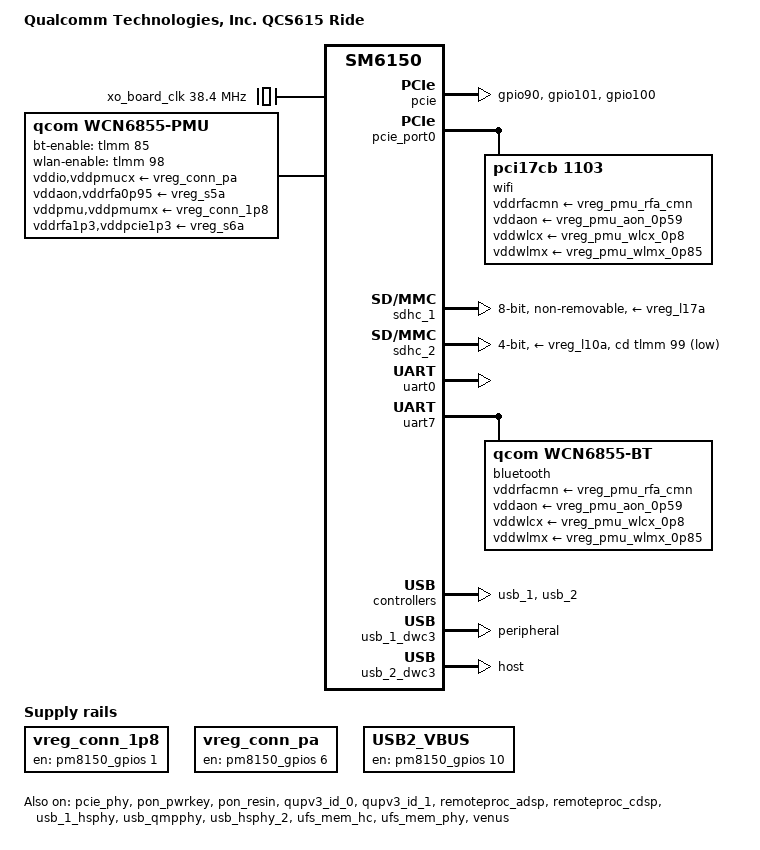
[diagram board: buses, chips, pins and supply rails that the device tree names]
// SPDX-License-Identifier: BSD-3-Clause
/*
 * Copyright (c) 2024, Qualcomm Innovation Center, Inc. All rights reserved.
 */
/dts-v1/;

#include <dt-bindings/gpio/gpio.h>
#include <dt-bindings/regulator/qcom,rpmh-regulator.h>
#include <dt-bindings/gpio/gpio.h>
#include "sm6150.dtsi"
#include "pm8150.dtsi"
/ {
	model = "Qualcomm Technologies, Inc. QCS615 Ride";
	compatible = "qcom,qcs615-ride", "qcom,qcs615", "qcom,sm6150";
	chassis-type = "embedded";

	aliases {
		mmc0 = &sdhc_1;
		mmc1 = &sdhc_2;
		serial0 = &uart0;
		serial1 = &uart7;
	};

	chosen {
		stdout-path = "serial0:115200n8";
	};

	clocks {
		sleep_clk: sleep-clk {
			compatible = "fixed-clock";
			clock-frequency = <32000>;
			#clock-cells = <0>;
		};

		xo_board_clk: xo-board-clk {
			compatible = "fixed-clock";
			clock-frequency = <38400000>;
			#clock-cells = <0>;
		};
	};

	vreg_conn_1p8: regulator-conn-1p8 {
		compatible = "regulator-fixed";
		regulator-name = "vreg_conn_1p8";
		startup-delay-us = <4000>;
		enable-active-high;
		gpio = <&pm8150_gpios 1 GPIO_ACTIVE_HIGH>;
	};

	vreg_conn_pa: regulator-conn-pa {
		compatible = "regulator-fixed";
		regulator-name = "vreg_conn_pa";
		startup-delay-us = <4000>;
		enable-active-high;
		gpio = <&pm8150_gpios 6 GPIO_ACTIVE_HIGH>;
	};

	regulator-usb2-vbus {
		compatible = "regulator-fixed";
		regulator-name = "USB2_VBUS";
		gpio = <&pm8150_gpios 10 GPIO_ACTIVE_HIGH>;
		pinctrl-0 = <&usb2_en>;
		pinctrl-names = "default";
		enable-active-high;
		regulator-always-on;
	};

	wcn6855-pmu {
		compatible = "qcom,wcn6855-pmu";

		pinctrl-0 = <&bt_en_state>, <&wlan_en_state>;
		pinctrl-names = "default";

		bt-enable-gpios = <&tlmm 85 GPIO_ACTIVE_HIGH>;
		wlan-enable-gpios = <&tlmm 98 GPIO_ACTIVE_HIGH>;

		vddio-supply = <&vreg_conn_pa>;
		vddaon-supply = <&vreg_s5a>;
		vddpmu-supply = <&vreg_conn_1p8>;
		vddpmumx-supply = <&vreg_conn_1p8>;
		vddpmucx-supply = <&vreg_conn_pa>;
		vddrfa0p95-supply = <&vreg_s5a>;
		vddrfa1p3-supply = <&vreg_s6a>;
		vddrfa1p9-supply = <&vreg_l15a>;
		vddpcie1p3-supply = <&vreg_s6a>;
		vddpcie1p9-supply = <&vreg_l15a>;

		regulators {
			vreg_pmu_rfa_cmn: ldo0 {
				regulator-name = "vreg_pmu_rfa_cmn";
			};

			vreg_pmu_aon_0p59: ldo1 {
				regulator-name = "vreg_pmu_aon_0p59";
			};

			vreg_pmu_wlcx_0p8: ldo2 {
				regulator-name = "vreg_pmu_wlcx_0p8";
			};

			vreg_pmu_wlmx_0p85: ldo3 {
				regulator-name = "vreg_pmu_wlmx_0p85";
			};

			vreg_pmu_btcmx_0p85: ldo4 {
				regulator-name = "vreg_pmu_btcmx_0p85";
			};

			vreg_pmu_rfa_0p8: ldo5 {
				regulator-name = "vreg_pmu_rfa_0p8";
			};

			vreg_pmu_rfa_1p2: ldo6 {
				regulator-name = "vreg_pmu_rfa_1p2";
			};

			vreg_pmu_rfa_1p7: ldo7 {
				regulator-name = "vreg_pmu_rfa_1p7";
			};

			vreg_pmu_pcie_0p9: ldo8 {
				regulator-name = "vreg_pmu_pcie_0p9";
			};

			vreg_pmu_pcie_1p8: ldo9 {
				regulator-name = "vreg_pmu_pcie_1p8";
			};
		};
	};
};

&apps_rsc {
	regulators-0 {
		compatible = "qcom,pm8150-rpmh-regulators";
		qcom,pmic-id = "a";

		vreg_s3a: smps3 {
			regulator-name = "vreg_s3a";
			regulator-min-microvolt = <600000>;
			regulator-max-microvolt = <650000>;
			regulator-initial-mode = <RPMH_REGULATOR_MODE_HPM>;
		};

		vreg_s4a: smps4 {
			regulator-name = "vreg_s4a";
			regulator-min-microvolt = <1800000>;
			regulator-max-microvolt = <1829000>;
			regulator-initial-mode = <RPMH_REGULATOR_MODE_HPM>;
		};

		vreg_s5a: smps5 {
			regulator-name = "vreg_s5a";
			regulator-min-microvolt = <1896000>;
			regulator-max-microvolt = <2040000>;
			regulator-initial-mode = <RPMH_REGULATOR_MODE_HPM>;
		};

		vreg_s6a: smps6 {
			regulator-name = "vreg_s6a";
			regulator-min-microvolt = <1304000>;
			regulator-max-microvolt = <1404000>;
			regulator-initial-mode = <RPMH_REGULATOR_MODE_HPM>;
		};

		vreg_l1a: ldo1 {
			regulator-name = "vreg_l1a";
			regulator-min-microvolt = <488000>;
			regulator-max-microvolt = <852000>;
			regulator-initial-mode = <RPMH_REGULATOR_MODE_LPM>;
			regulator-allow-set-load;
			regulator-allowed-modes = <RPMH_REGULATOR_MODE_LPM
						   RPMH_REGULATOR_MODE_HPM>;
		};

		vreg_l2a: ldo2 {
			regulator-name = "vreg_l2a";
			regulator-min-microvolt = <1650000>;
			regulator-max-microvolt = <3100000>;
			regulator-initial-mode = <RPMH_REGULATOR_MODE_LPM>;
			regulator-allow-set-load;
			regulator-allowed-modes = <RPMH_REGULATOR_MODE_LPM
						   RPMH_REGULATOR_MODE_HPM>;
		};

		vreg_l3a: ldo3 {
			regulator-name = "vreg_l3a";
			regulator-min-microvolt = <1000000>;
			regulator-max-microvolt = <1248000>;
			regulator-initial-mode = <RPMH_REGULATOR_MODE_LPM>;
			regulator-allow-set-load;
			regulator-allowed-modes = <RPMH_REGULATOR_MODE_LPM
						   RPMH_REGULATOR_MODE_HPM>;
		};

		vreg_l5a: ldo5 {
			regulator-name = "vreg_l5a";
			regulator-min-microvolt = <875000>;
			regulator-max-microvolt = <975000>;
			regulator-initial-mode = <RPMH_REGULATOR_MODE_HPM>;
			regulator-allow-set-load;
			regulator-allowed-modes = <RPMH_REGULATOR_MODE_LPM
						   RPMH_REGULATOR_MODE_HPM>;
		};

		vreg_l7a: ldo7 {
			regulator-name = "vreg_l7a";
			regulator-min-microvolt = <1800000>;
			regulator-max-microvolt = <1900000>;
			regulator-initial-mode = <RPMH_REGULATOR_MODE_HPM>;
			regulator-allow-set-load;
			regulator-allowed-modes = <RPMH_REGULATOR_MODE_LPM
						   RPMH_REGULATOR_MODE_HPM>;
		};

		vreg_l8a: ldo8 {
			regulator-name = "vreg_l8a";
			regulator-min-microvolt = <1150000>;
			regulator-max-microvolt = <1350000>;
			regulator-initial-mode = <RPMH_REGULATOR_MODE_HPM>;
			regulator-allow-set-load;
			regulator-allowed-modes = <RPMH_REGULATOR_MODE_LPM
						   RPMH_REGULATOR_MODE_HPM>;
		};

		vreg_l10a: ldo10 {
			regulator-name = "vreg_l10a";
			regulator-min-microvolt = <2950000>;
			regulator-max-microvolt = <3312000>;
			regulator-initial-mode = <RPMH_REGULATOR_MODE_HPM>;
			regulator-allow-set-load;
			regulator-allowed-modes = <RPMH_REGULATOR_MODE_LPM
						   RPMH_REGULATOR_MODE_HPM>;
		};

		vreg_l11a: ldo11 {
			regulator-name = "vreg_l11a";
			regulator-min-microvolt = <1232000>;
			regulator-max-microvolt = <1260000>;
			regulator-initial-mode = <RPMH_REGULATOR_MODE_LPM>;
			regulator-allow-set-load;
			regulator-allowed-modes = <RPMH_REGULATOR_MODE_LPM
						   RPMH_REGULATOR_MODE_HPM>;
		};

		vreg_l12a: ldo12 {
			regulator-name = "vreg_l12a";
			regulator-min-microvolt = <1800000>;
			regulator-max-microvolt = <1890000>;
			regulator-initial-mode = <RPMH_REGULATOR_MODE_HPM>;
		};

		vreg_l13a: ldo13 {
			regulator-name = "vreg_l13a";
			regulator-min-microvolt = <3000000>;
			regulator-max-microvolt = <3230000>;
			regulator-initial-mode = <RPMH_REGULATOR_MODE_LPM>;
			regulator-allow-set-load;
			regulator-allowed-modes = <RPMH_REGULATOR_MODE_LPM
						   RPMH_REGULATOR_MODE_HPM>;
		};

		vreg_l15a: ldo15 {
			regulator-name = "vreg_l15a";
			regulator-min-microvolt = <1800000>;
			regulator-max-microvolt = <1904000>;
			regulator-initial-mode = <RPMH_REGULATOR_MODE_LPM>;
			regulator-allow-set-load;
			regulator-allowed-modes = <RPMH_REGULATOR_MODE_LPM
						   RPMH_REGULATOR_MODE_HPM>;
		};

		vreg_l16a: ldo16 {
			regulator-name = "vreg_l16a";
			regulator-min-microvolt = <3000000>;
			regulator-max-microvolt = <3312000>;
			regulator-initial-mode = <RPMH_REGULATOR_MODE_LPM>;
			regulator-allow-set-load;
			regulator-allowed-modes = <RPMH_REGULATOR_MODE_LPM
						   RPMH_REGULATOR_MODE_HPM>;
		};

		vreg_l17a: ldo17 {
			regulator-name = "vreg_l17a";
			regulator-min-microvolt = <2950000>;
			regulator-max-microvolt = <3312000>;
			regulator-initial-mode = <RPMH_REGULATOR_MODE_HPM>;
		};
	};
};

&pcie {
	perst-gpios = <&tlmm 101 GPIO_ACTIVE_LOW>;
	wake-gpios = <&tlmm 100 GPIO_ACTIVE_HIGH>;

	pinctrl-0 = <&pcie_default_state>;
	pinctrl-names = "default";

	status = "okay";
};

&pcie_phy {
	vdda-phy-supply = <&vreg_l5a>;
	vdda-pll-supply = <&vreg_l12a>;

	status = "okay";
};

&pcie_port0 {
	wifi@0 {
		compatible = "pci17cb,1103";
		reg = <0x10000 0x0 0x0 0x0 0x0>;

		qcom,calibration-variant = "QC_QCS615_Ride";

		vddrfacmn-supply = <&vreg_pmu_rfa_cmn>;
		vddaon-supply = <&vreg_pmu_aon_0p59>;
		vddwlcx-supply = <&vreg_pmu_wlcx_0p8>;
		vddwlmx-supply = <&vreg_pmu_wlmx_0p85>;
		vddrfa0p8-supply = <&vreg_pmu_rfa_0p8>;
		vddrfa1p2-supply = <&vreg_pmu_rfa_1p2>;
		vddrfa1p8-supply = <&vreg_pmu_rfa_1p7>;
		vddpcie0p9-supply = <&vreg_pmu_pcie_0p9>;
		vddpcie1p8-supply = <&vreg_pmu_pcie_1p8>;
	};
};

&pm8150_gpios {
	usb2_en: usb2-en-state {
		pins = "gpio10";
		function = "normal";
		output-enable;
		power-source = <0>;
	};
};

&pon_pwrkey {
	status = "okay";
};

&pon_resin {
	linux,code = <KEY_VOLUMEDOWN>;

	status = "okay";
};

&qupv3_id_0 {
	status = "okay";
};

&qupv3_id_1 {
	status = "okay";
};

&remoteproc_adsp {
	firmware-name = "qcom/qcs615/adsp.mbn";

	status = "okay";
};

&remoteproc_cdsp {
	firmware-name = "qcom/qcs615/cdsp.mbn";

	status = "okay";
};

&tlmm {
	bt_en_state: bt-en-state {
		pins = "gpio85";
		function = "gpio";
		bias-pull-down;
		output-low;
	};

	pcie_default_state: pcie-default-state {
		clkreq-pins {
			pins = "gpio90";
			function = "pcie_clk_req";
			drive-strength = <2>;
			bias-pull-up;
		};

		perst-pins {
			pins = "gpio101";
			function = "gpio";
			drive-strength = <2>;
			bias-pull-down;
		};

		wake-pins {
			pins = "gpio100";
			function = "gpio";
			drive-strength = <2>;
			bias-pull-up;
		};
	};

	wlan_en_state: wlan-en-state {
		pins = "gpio98";
		function = "gpio";
		bias-pull-down;
		output-low;
	};
};

&sdhc_1 {
	pinctrl-0 = <&sdc1_state_on>;
	pinctrl-1 = <&sdc1_state_off>;
	pinctrl-names = "default", "sleep";

	bus-width = <8>;
	mmc-ddr-1_8v;
	mmc-hs200-1_8v;
	mmc-hs400-1_8v;
	mmc-hs400-enhanced-strobe;
	vmmc-supply = <&vreg_l17a>;
	vqmmc-supply = <&vreg_s4a>;

	non-removable;
	no-sd;
	no-sdio;

	status = "okay";
};

&sdhc_2 {
	pinctrl-0 = <&sdc2_state_on>;
	pinctrl-1 = <&sdc2_state_off>;
	pinctrl-names = "default", "sleep";

	bus-width = <4>;
	cd-gpios = <&tlmm 99 GPIO_ACTIVE_LOW>;

	vmmc-supply = <&vreg_l10a>;
	vqmmc-supply = <&vreg_s4a>;

	status = "okay";
};

&uart0 {
	status = "okay";
};

&uart7 {
	status = "okay";

	bluetooth {
		compatible = "qcom,wcn6855-bt";
		firmware-name = "QCA6698/hpnv21", "QCA6698/hpbtfw21.tlv";

		vddrfacmn-supply = <&vreg_pmu_rfa_cmn>;
		vddaon-supply = <&vreg_pmu_aon_0p59>;
		vddwlcx-supply = <&vreg_pmu_wlcx_0p8>;
		vddwlmx-supply = <&vreg_pmu_wlmx_0p85>;
		vddbtcmx-supply = <&vreg_pmu_btcmx_0p85>;
		vddrfa0p8-supply = <&vreg_pmu_rfa_0p8>;
		vddrfa1p2-supply = <&vreg_pmu_rfa_1p2>;
		vddrfa1p8-supply = <&vreg_pmu_rfa_1p7>;
	};
};

&usb_1_hsphy {
	vdd-supply = <&vreg_l5a>;
	vdda-pll-supply = <&vreg_l12a>;
	vdda-phy-dpdm-supply = <&vreg_l13a>;

	status = "okay";
};

&usb_qmpphy {
	vdda-phy-supply = <&vreg_l5a>;
	vdda-pll-supply = <&vreg_l12a>;

	status = "okay";
};

&usb_1 {
	status = "okay";
};

&usb_1_dwc3 {
	dr_mode = "peripheral";
};

&usb_hsphy_2 {
	vdd-supply = <&vreg_l5a>;
	vdda-pll-supply = <&vreg_l12a>;
	vdda-phy-dpdm-supply = <&vreg_l13a>;

	status = "okay";
};

&usb_2 {
	status = "okay";
};

&usb_2_dwc3 {
	dr_mode = "host";
};

&ufs_mem_hc {
	reset-gpios = <&tlmm 123 GPIO_ACTIVE_LOW>;
	vcc-supply = <&vreg_l17a>;
	vcc-max-microamp = <600000>;
	vccq2-supply = <&vreg_s4a>;
	vccq2-max-microamp = <600000>;

	status = "okay";
};

&ufs_mem_phy {
	vdda-phy-supply = <&vreg_l5a>;
	vdda-pll-supply = <&vreg_l12a>;

	status = "okay";
};

&venus {
	status = "okay";
};
